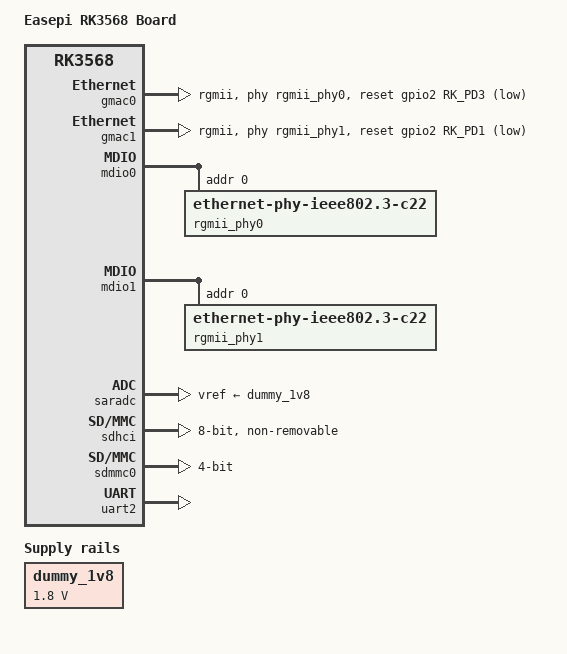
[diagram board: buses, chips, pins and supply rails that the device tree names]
// SPDX-License-Identifier: (GPL-2.0+ OR MIT)

/dts-v1/;

#include <dt-bindings/gpio/gpio.h>
#include <dt-bindings/pinctrl/rockchip.h>
#include "rk3568.dtsi"

/ {
	model = "Easepi RK3568 Board";
	compatible = "linkease,rk3568-demo", "rockchip,rk3568";

	aliases {
		ethernet0 = &gmac0;
		ethernet1 = &gmac1;
		mmc0 = &sdhci;
		mmc1 = &sdmmc0;
	};

	chosen {
		stdout-path = "serial2:1500000n8";
	};

	dummy_1v8: vcc-dummy-1v8-regulator {
		compatible = "regulator-fixed";
		regulator-always-on;
		regulator-boot-on;
		regulator-min-microvolt = <1800000>;
		regulator-max-microvolt = <1800000>;
		regulator-name = "dummy_1v8";
	};
};

&gmac0 {
	phy-mode = "rgmii";
	clock_in_out = "output";

	snps,reset-gpio = <&gpio2 RK_PD3 GPIO_ACTIVE_LOW>;
	snps,reset-active-low;
	/* Reset time is 20ms, 100ms for rtl8211f */
	snps,reset-delays-us = <0 20000 100000>;
	assigned-clocks = <&cru SCLK_GMAC0_RX_TX>, <&cru SCLK_GMAC0>;
	assigned-clock-parents = <&cru SCLK_GMAC0_RGMII_SPEED>;
	assigned-clock-rates = <0>, <125000000>;

	pinctrl-names = "default";
	pinctrl-0 = <&gmac0_miim
		     &gmac0_tx_bus2
		     &gmac0_rx_bus2
		     &gmac0_rgmii_clk
		     &gmac0_rgmii_bus>;

	tx_delay = <0x3c>;
	rx_delay = <0x2f>;

	phy-handle = <&rgmii_phy0>;
	status = "okay";
};

&gmac1 {
	phy-mode = "rgmii";
	clock_in_out = "output";

	snps,reset-gpio = <&gpio2 RK_PD1 GPIO_ACTIVE_LOW>;
	snps,reset-active-low;
	/* Reset time is 20ms, 100ms for rtl8211f */
	snps,reset-delays-us = <0 20000 100000>;

	assigned-clocks = <&cru SCLK_GMAC1_RX_TX>, <&cru SCLK_GMAC1>;
	assigned-clock-parents = <&cru SCLK_GMAC1_RGMII_SPEED>;
	assigned-clock-rates = <0>, <125000000>;

	pinctrl-names = "default";
	pinctrl-0 = <&gmac1m1_miim
		     &gmac1m1_tx_bus2
		     &gmac1m1_rx_bus2
		     &gmac1m1_rgmii_clk
		     &gmac1m1_rgmii_bus>;

	tx_delay = <0x4f>;
	rx_delay = <0x26>;

	phy-handle = <&rgmii_phy1>;
	status = "okay";
};

&mdio0 {
	rgmii_phy0: phy@0 {
		compatible = "ethernet-phy-ieee802.3-c22";
		reg = <0x0>;
	};
};

&mdio1 {
	rgmii_phy1: phy@0 {
		compatible = "ethernet-phy-ieee802.3-c22";
		reg = <0x0>;
	};
};

&saradc {
	vref-supply = <&dummy_1v8>;
	status = "okay";
};

&sdhci {
	bus-width = <8>;
	cap-mmc-highspeed;
	mmc-hs200-1_8v;
	no-sd;
	no-sdio;
	non-removable;
	pinctrl-names = "default";
	pinctrl-0 = <&emmc_bus8 &emmc_clk &emmc_cmd &emmc_datastrobe>;
	status = "okay";
};

&sdmmc0 {
	bus-width = <4>;
	cap-sd-highspeed;
	disable-wp;
	no-mmc;
	no-sdio;
	pinctrl-names = "default";
	pinctrl-0 = <&sdmmc0_bus4 &sdmmc0_clk &sdmmc0_cmd &sdmmc0_det>;
	status = "okay";
};

&uart2 {
	status = "okay";
};
